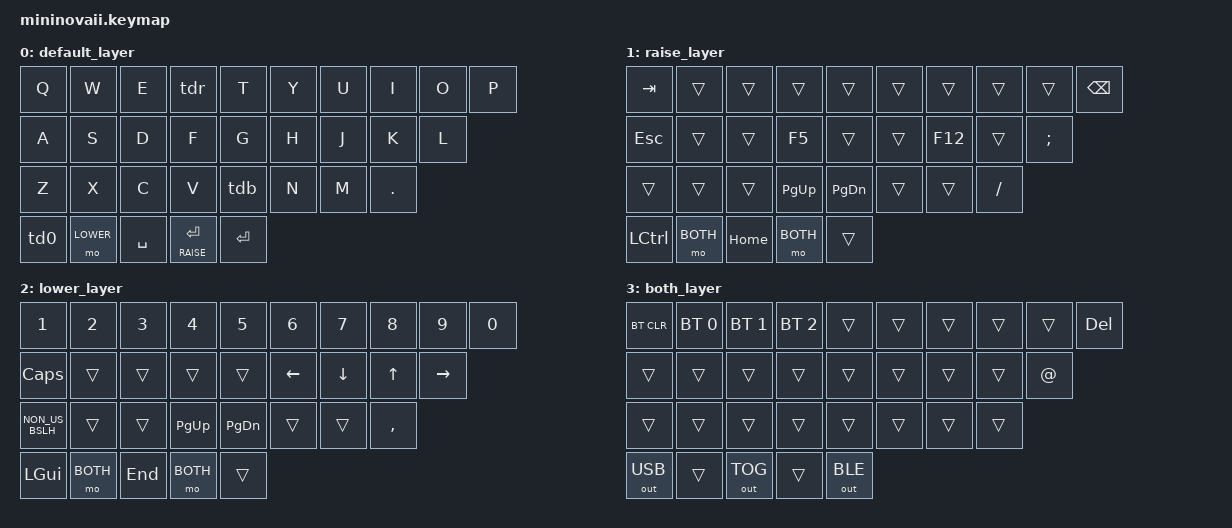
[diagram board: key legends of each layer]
/*
 * Copyright (c) 2021 The ZMK Contributors
 *
 * SPDX-License-Identifier: MIT
 */

#include <behaviors.dtsi>
#include <dt-bindings/zmk/keys.h>
#include <dt-bindings/zmk/bt.h>
#include <dt-bindings/zmk/outputs.h>

#define DEFAULT  0
#define RAISE    1
#define LOWER    2
#define BOTH     3

// -----------------------------------
// | TAB:TAB |    |    |    |    |   -:-  =:=  <:<   |   (< = bksp)
// | ESC:ESC |    |    |    |    |    |   #:#   |
// |    |    |    |    |    |    |    |    |
//           |    |    |         |    |    |

/ {
    combos {
        compatible = "zmk,combos";

        combo_tab {
            timeout-ms = <50>;
            key-positions = <0 1>;
            bindings = <&kp TAB>;
        };

        combo_esc {
            timeout-ms = <50>;
            key-positions = <10 11>;
            bindings = <&kp ESC>;
        };

        combo_dash {
            timeout-ms = <50>;
            key-positions = <6 7>;
            bindings = <&kp MINUS>;
        };

        combo_eq {
            timeout-ms = <50>;
            key-positions = <7 8>;
            bindings = <&kp EQUAL>;
        };

        combo_bksp {
            timeout-ms = <50>;
            key-positions = <8 9>;
            bindings = <&kp BSPC>;
        };

        combo_hash {
            timeout-ms = <50>;
            key-positions = <17 18>;
            bindings = <&kp NON_US_HASH>;
        };

    };
};

&mt {
    tapping-term-ms = <400>;
};

/ {

    behaviors {
        td0: tap_dance_0 {
            compatible = "zmk,behavior-tap-dance";
            label = "TAP_DANCE_0";
            #binding-cells = <0>;
            tapping-term-ms = <200>;
            bindings = <&kp LCTRL>, <&kp LSHIFT>;
        };
        tdr: tap_dance_reset {
            compatible = "zmk,behavior-tap-dance";
            label = "TAP_DANCE_RESET";
            #binding-cells = <0>;
            tapping-term-ms = <200>;
            bindings = <&kp R>, <&kp R>, <&kp R>, <&kp R>, <&sys_reset>;
        };
        tdb: tap_dance_bootloader {
            compatible = "zmk,behavior-tap-dance";
            label = "TAP_DANCE_BOOTLOADER";
            #binding-cells = <0>;
            tapping-term-ms = <200>;
            bindings = <&kp B>, <&kp B>, <&kp B>, <&kp B>, <&bootloader>;
        };                
    };

    keymap {
        compatible = "zmk,keymap";

        default_layer {
            bindings = <
    &kp Q      &kp W       &kp E      &tdr          &kp T      &kp Y     &kp U   &kp I     &kp O     &kp P
    &kp A      &kp S       &kp D      &kp F           &kp G      &kp H     &kp J   &kp K     &kp L
    &kp Z      &kp X       &kp C      &kp V           &tdb     &kp N     &kp M   &kp DOT
    &td0 &mo LOWER   &kp SPACE  &lt RAISE ENTER &kp ENTER
            >;
        };

        raise_layer {
            bindings = <
    &kp TAB    &trans    &trans     &trans     &trans     &trans  &trans    &trans    &trans    &kp BSPC
    &kp ESC    &trans    &trans     &kp F5     &trans     &trans  &kp F12   &trans    &kp SEMI
    &trans     &trans    &trans     &kp PG_UP  &kp PG_DN  &trans  &trans    &kp FSLH
    &kp LCTRL  &mo BOTH  &kp HOME   &mo BOTH   &trans
            >;
        };

        lower_layer {
            bindings = <
    &kp N1          &kp N2    &kp N3   &kp N4     &kp N5     &kp N6    &kp N7    &kp N8    &kp N9    &kp N0
    &kp CAPS        &trans    &trans   &trans     &trans     &kp LEFT  &kp DOWN  &kp UP    &kp RIGHT
    &kp NON_US_BSLH &trans    &trans   &kp PG_UP  &kp PG_DN  &trans    &trans    &kp COMMA
    &kp LGUI        &mo BOTH  &kp END  &mo BOTH   &trans
            >;
        };

        both_layer {
            bindings = <
    &bt BT_CLR   &bt BT_SEL 0 &bt BT_SEL 1 &bt BT_SEL 2 &trans  &trans  &trans  &trans &trans &kp DEL
    &trans       &trans       &trans       &trans       &trans  &trans  &trans  &trans &kp AT
    &trans       &trans       &trans       &trans       &trans  &trans  &trans  &trans
    &out OUT_USB &trans       &out OUT_TOG &trans       &out OUT_BLE
            >;
        };

    };
};
